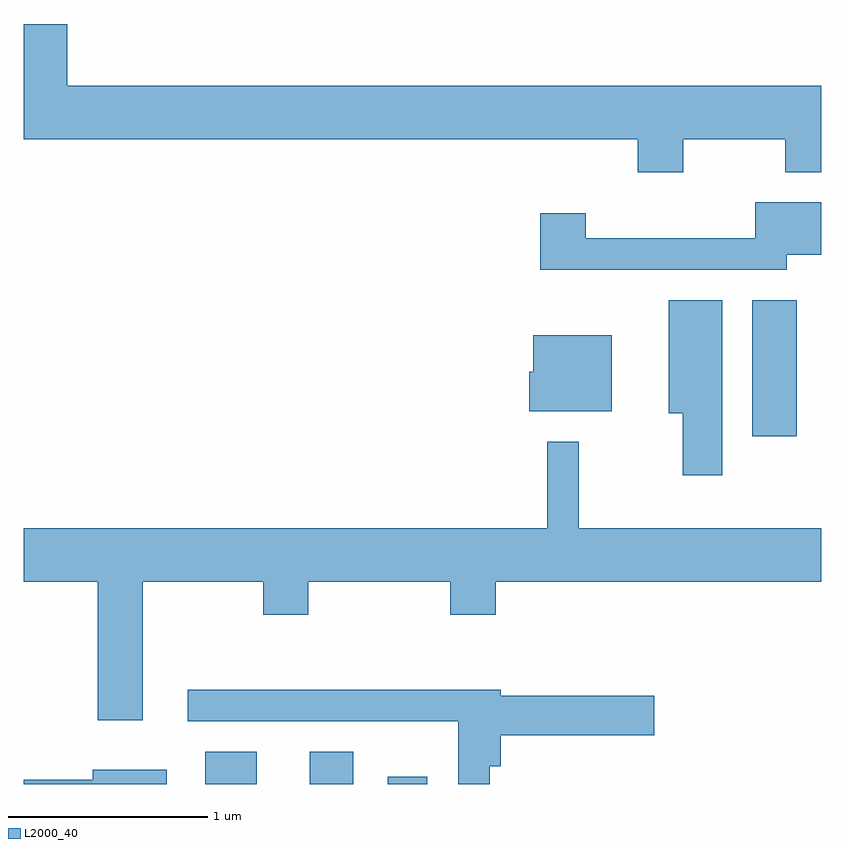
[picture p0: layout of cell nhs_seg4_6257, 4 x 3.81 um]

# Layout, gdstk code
import gdstk
lib = gdstk.Library(unit=1e-6, precision=1e-09)
def R(c, l, rs):  # rectangles x0, y0, x1, y1
    for r in rs: c.add(gdstk.rectangle(r[:2], r[2:], *l))
def P(c, l, *ps):  # polygons
    for p in ps: c.add(gdstk.Polygon(p, *l))
L2000_40 = (2000, 40)

nhs_seg4_6257 = lib.new_cell('nhs_seg4_6257')
R(nhs_seg4_6257, L2000_40, [(370.521,1255.982,370.779,1256.144), (371.046,1255.982,371.264,1256.144), (371.436,1255.982,371.634,1256.019), (373.266,1257.726,373.489,1258.409)])
P(nhs_seg4_6257, L2000_40, [(372.919,1259.216),(373.431,1259.216),(373.431,1259.051),(373.611,1259.051),(373.611,1259.484),(369.829,1259.484),(369.829,1259.794),(369.611,1259.794),(369.611,1259.216),(372.691,1259.216),(372.691,1259.051),(372.919,1259.051)],
  [(373.439,1258.636),(373.611,1258.636),(373.611,1258.899),(373.281,1258.899),(373.281,1258.719),(372.429,1258.719),(372.429,1258.844),(372.201,1258.844),(372.201,1258.561),(373.439,1258.561)],
  [(373.114,1258.409),(372.846,1258.409),(372.846,1257.841),(372.916,1257.841),(372.916,1257.531),(373.114,1257.531)],
  [(372.559,1258.234),(372.166,1258.234),(372.166,1258.049),(372.146,1258.049),(372.146,1257.851),(372.559,1257.851)],
  [(370.209,1256.996),(370.811,1256.996),(370.811,1256.831),(371.039,1256.831),(371.039,1256.996),(371.751,1256.996),(371.751,1256.831),(371.979,1256.831),(371.979,1256.996),(373.611,1256.996),(373.611,1257.264),(372.394,1257.264),(372.394,1257.698),(372.236,1257.698),(372.236,1257.264),(369.611,1257.264),(369.611,1256.996),(369.981,1256.996),(369.981,1256.301),(370.209,1256.301)],
  [(371.949,1256.071),(372.004,1256.071),(372.004,1256.226),(372.774,1256.226),(372.774,1256.424),(372.004,1256.424),(372.004,1256.454),(370.433,1256.454),(370.433,1256.296),(371.791,1256.296),(371.791,1255.982),(371.949,1255.982)],
  [(370.329,1256.054),(369.956,1256.054),(369.956,1256.004),(369.611,1256.004),(369.611,1255.982),(370.329,1255.982)])

lib.write_gds('nhs_seg4_6257.gds')
